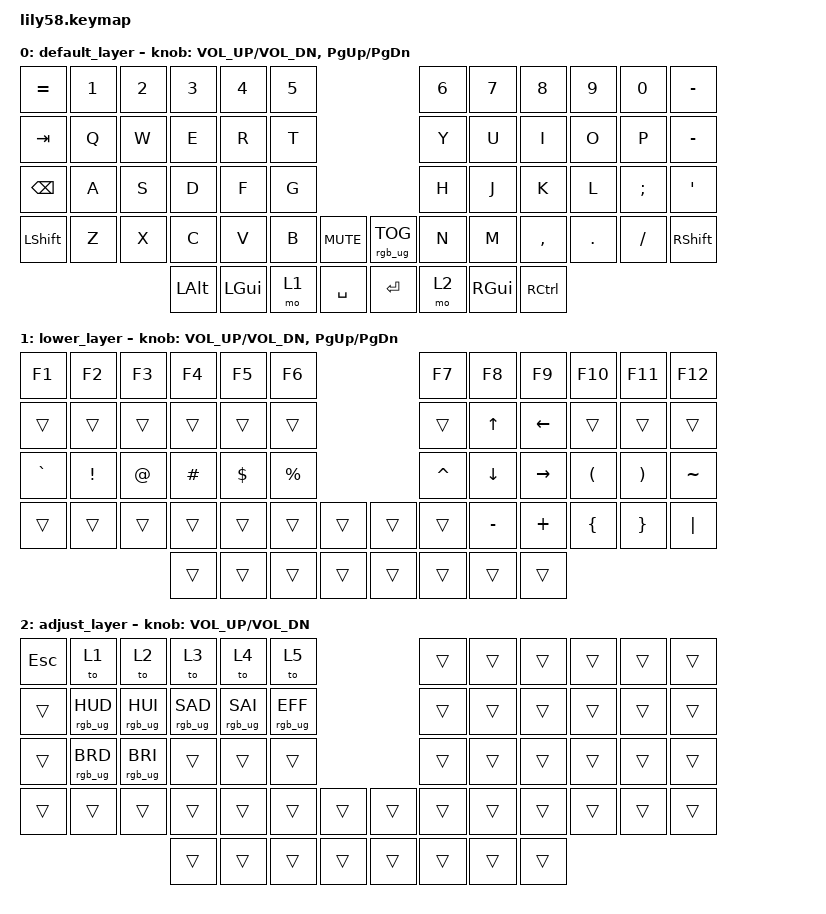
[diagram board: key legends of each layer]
/*
 * Copyright (c) 2020 The ZMK Contributors
 *
 * SPDX-License-Identifier: MIT
 */

#include <behaviors.dtsi>
#include <dt-bindings/zmk/keys.h>
#include <dt-bindings/zmk/rgb.h>

/ {
    // Activate ADJUST layer by pressing raise and lower

    conditional_layers {
        compatible = "zmk,conditional-layers";

        adjust_layer {
            if-layers = <1 2>;
            then-layer = <3>;
        };
    };

    combos { compatible = "zmk,combos"; };

    keymap {
        compatible = "zmk,keymap";

        default_layer {
            // ------------------------------------------------------------------------------------------------------------
            // |  ESC  |  1  |  2  |  3   |  4   |  5   |                   |  6   |  7    |  8    |  9   |   0   |   `   |
            // |  TAB  |  Q  |  W  |  E   |  R   |  T   |                   |  Y   |  U    |  I    |  O   |   P   |   -   |
            // |  CTRL |  A  |  S  |  D   |  F   |  G   |                   |  H   |  J    |  K    |  L   |   ;   |   '   |
            // | SHIFT |  Z  |  X  |  C   |  V   |  B   |  MUTE  |  |RGB_TOG|  N   |  M    |  ,    |  .   |   /   | SHIFT |
            //                     | ALT  | GUI  | LOWER|  SPACE |  | ENTER | RAISE| BSPC  | GUI   |

            bindings = <
&kp EQUAL      &kp N1  &kp N2  &kp N3    &kp N4    &kp N5                                 &kp N6  &kp N7         &kp N8             &kp N9   &kp N0    &kp MINUS
&kp TAB        &kp Q   &kp W   &kp E     &kp R     &kp T                                  &kp Y   &kp U          &kp I              &kp O    &kp P     &kp MINUS
&kp BACKSPACE  &kp A   &kp S   &kp D     &kp F     &kp G                                  &kp H   &kp J          &kp K              &kp L    &kp SEMI  &kp SQT
&kp LSHFT      &kp Z   &kp X   &kp C     &kp V     &kp B   &kp C_MUTE    &rgb_ug RGB_TOG  &kp N   &kp M          &kp COMMA          &kp DOT  &kp FSLH  &kp RSHFT
                               &kp LALT  &kp LGUI  &mo 1   &kp SPACE     &kp RET          &mo 2   &kp RIGHT_GUI  &kp RIGHT_CONTROL
            >;

            sensor-bindings = <&inc_dec_kp C_VOL_UP C_VOL_DN &inc_dec_kp PG_UP PG_DN>;
        };

        lower_layer {
            // ------------------------------------------------------------------------------------------------------------
            // | BTCLR | BT1 | BT2 |  BT3 |  BT4 |  BT5 |                   |      |       |       |      |       |       |
            // |  F1   |  F2 |  F3 |  F4  |  F5  |  F6  |                   |  F7  |  F8   |  F9   |  F10 |  F11  |  F12  |
            // |   `   |  !  |  @  |  #   |  $   |  %   |                   |  ^   |  &    |  *    |  (   |   )   |   ~   |
            // |EXTPWR |     |     |      |      |      |        |  |       |      |  _    |  +    |  {   |   }   |  "|"  |
            //                     |      |      |      |        |  |       |      |       |       |

            bindings = <
&kp F1     &kp F2    &kp F3  &kp F4    &kp F5      &kp F6                       &kp F7     &kp F8          &kp F9           &kp F10   &kp F11   &kp F12
&trans     &trans    &trans  &trans    &trans      &trans                       &trans     &kp UP_ARROW    &kp LEFT_ARROW   &trans    &trans    &trans
&kp GRAVE  &kp EXCL  &kp AT  &kp HASH  &kp DOLLAR  &kp PRCNT                    &kp CARET  &kp DOWN_ARROW  &kp RIGHT_ARROW  &kp LPAR  &kp RPAR  &kp TILDE
&trans     &trans    &trans  &trans    &trans      &trans     &trans    &trans  &trans     &kp MINUS       &kp PLUS         &kp LBRC  &kp RBRC  &kp PIPE
                             &trans    &trans      &trans     &trans    &trans  &trans     &trans          &trans
            >;

            sensor-bindings = <&inc_dec_kp C_VOL_UP C_VOL_DN &inc_dec_kp PG_UP PG_DN>;
        };

        adjust_layer {
            // ----------------------------------------------------------------------------------------------------------------------------
            // | BTCLR  |  BT1    |  BT2    |   BT3   |   BT4   |   BT5   |                  |      |      |       |      |       |       |
            // | EXTPWR | RGB_HUD | RGB_HUI | RGB_SAD | RGB_SAI | RGB_EFF |                  |      |      |       |      |       |       |
            // |        | RGB_BRD | RGB_BRI |         |         |         |                  |      |      |       |      |       |       |
            // |        |         |         |         |         |         | RGB_TOG | |      |      |      |       |      |       |       |
            //                    |         |         |         |         |         | |      |      |      |       |      |

            bindings = <
&kp ESC  &to 1            &to 2            &to 3            &to 4            &to 5                              &trans  &trans  &trans  &trans  &trans  &trans
&trans   &rgb_ug RGB_HUD  &rgb_ug RGB_HUI  &rgb_ug RGB_SAD  &rgb_ug RGB_SAI  &rgb_ug RGB_EFF                    &trans  &trans  &trans  &trans  &trans  &trans
&trans   &rgb_ug RGB_BRD  &rgb_ug RGB_BRI  &trans           &trans           &trans                             &trans  &trans  &trans  &trans  &trans  &trans
&trans   &trans           &trans           &trans           &trans           &trans           &trans    &trans  &trans  &trans  &trans  &trans  &trans  &trans
                                           &trans           &trans           &trans           &trans    &trans  &trans  &trans  &trans
            >;

            sensor-bindings = <&inc_dec_kp C_VOL_UP C_VOL_DN>;
        };

        extra1 { status = "reserved"; };

        extra2 { status = "reserved"; };

        extra3 { status = "reserved"; };

        extra4 { status = "reserved"; };

        extra5 { status = "reserved"; };
    };
};
